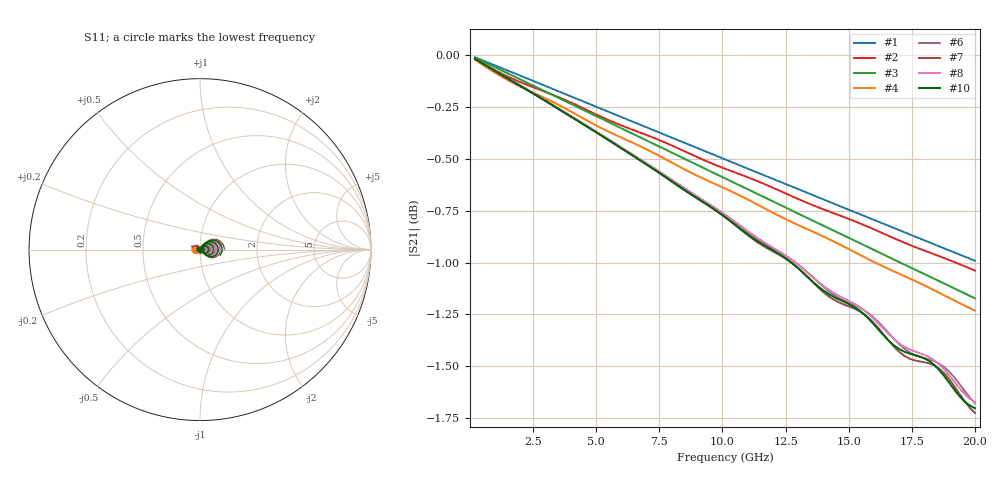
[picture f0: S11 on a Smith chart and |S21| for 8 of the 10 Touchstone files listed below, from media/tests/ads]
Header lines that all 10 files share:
# hz S ma R 50
! 2 Port Network Data from SP1.SP block
! freq  magS11  angS11  magS21  angS21  magS12  angS12  magS22  angS22
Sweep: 200 MHz to 20 GHz
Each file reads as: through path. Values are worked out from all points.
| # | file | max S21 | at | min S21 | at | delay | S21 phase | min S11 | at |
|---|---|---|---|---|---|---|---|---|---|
| 1 | cpw,t=0um.s2p | -0.01 dB | 200 MHz | -1.0 dB | 20 GHz | 130 ps | -117 deg at 10.2 GHz | -73.1 dB | 3.8 GHz |
| 2 | cpw,t=35um.s2p | -0.02 dB | 200 MHz | -1.0 dB | 20 GHz | 128 ps | -111 deg at 10.2 GHz | -54.0 dB | 7.8 GHz |
| 3 | cpwg,t=0um.s2p | -0.01 dB | 200 MHz | -1.2 dB | 20 GHz | 139 ps | -154 deg at 10.2 GHz | -68.2 dB | 3.6 GHz |
| 4 | cpwg,t=35um.s2p | -0.02 dB | 200 MHz | -1.2 dB | 20 GHz | 137 ps | -147 deg at 10.2 GHz | -58.5 dB | 3.6 GHz |
| 5 | mlin,djordjevicsvensson,kirschning.s2p | -0.02 dB | 200 MHz | -1.7 dB | 20 GHz | 162 ps | 145 deg at 10.2 GHz | -61.0 dB | 3.2 GHz |
| 6 | mlin,djordjevicsvensson,kobayashi.s2p | -0.02 dB | 200 MHz | -1.7 dB | 20 GHz | 162 ps | 144 deg at 10.2 GHz | -61.2 dB | 3.2 GHz |
| 7 | mlin,djordjevicsvensson,yamashita.s2p | -0.02 dB | 200 MHz | -1.7 dB | 20 GHz | 163 ps | 140 deg at 10.2 GHz | -62.0 dB | 3.2 GHz |
| 8 | mlin,freqencyinvariant,kirschning.s2p | -0.02 dB | 200 MHz | -1.7 dB | 20 GHz | 165 ps | 137 deg at 10.2 GHz | -67.3 dB | 6.4 GHz |
| 9 | mlin,freqencyinvariant,kobayashi.s2p | -0.02 dB | 200 MHz | -1.7 dB | 20 GHz | 165 ps | 137 deg at 10.2 GHz | -67.4 dB | 6.4 GHz |
| 10 | mlin,freqencyinvariant,yamashita.s2p | -0.02 dB | 200 MHz | -1.7 dB | 20 GHz | 167 ps | 132 deg at 10.2 GHz | -65.8 dB | 6.4 GHz |
